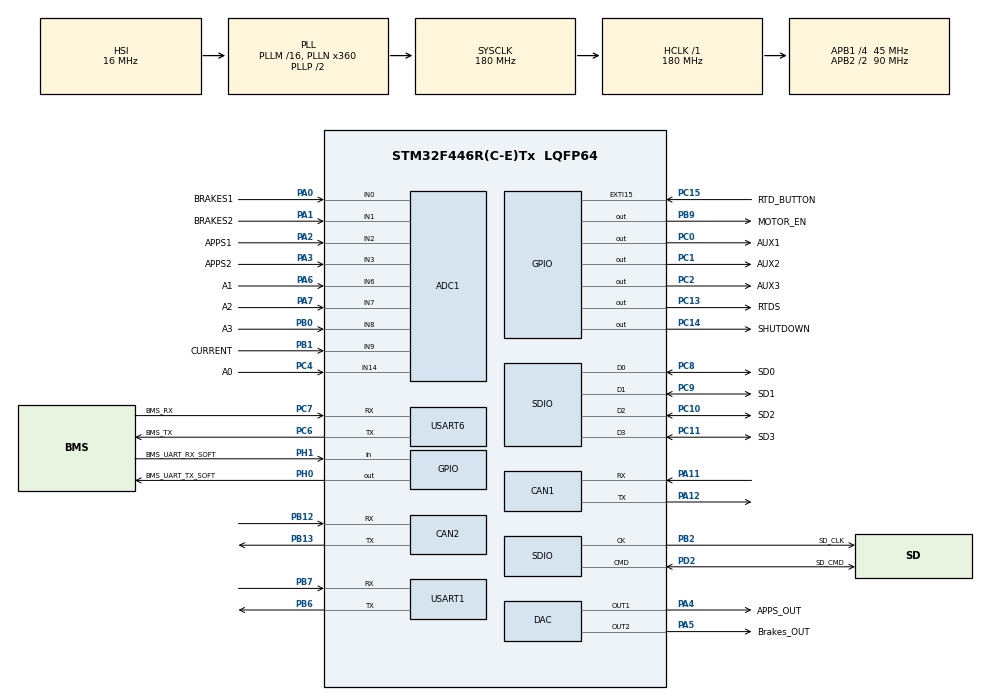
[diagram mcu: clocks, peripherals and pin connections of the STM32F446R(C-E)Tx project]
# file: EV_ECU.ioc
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ADC1.Channel-0\#ChannelRegularConversion=ADC_CHANNEL_0
ADC1.Channel-1\#ChannelRegularConversion=ADC_CHANNEL_1
ADC1.Channel-2\#ChannelRegularConversion=ADC_CHANNEL_2
ADC1.Channel-3\#ChannelRegularConversion=ADC_CHANNEL_3
ADC1.Channel-4\#ChannelRegularConversion=ADC_CHANNEL_9
ADC1.Channel-5\#ChannelRegularConversion=ADC_CHANNEL_6
ADC1.Channel-6\#ChannelRegularConversion=ADC_CHANNEL_7
ADC1.Channel-7\#ChannelRegularConversion=ADC_CHANNEL_VREFINT
ADC1.DMAContinuousRequests=ENABLE
ADC1.DiscontinuousConvMode=DISABLE
ADC1.EOCSelection=ADC_EOC_SEQ_CONV
ADC1.EnableAnalogWatchDog=false
ADC1.ExternalTrigConv=ADC_EXTERNALTRIGCONV_T2_TRGO
ADC1.InjNumberOfConversion=0
ADC1.NbrOfConversion=8
ADC1.NbrOfConversionFlag=1
ADC1.Rank-0\#ChannelRegularConversion=1
ADC1.Rank-1\#ChannelRegularConversion=2
ADC1.Rank-2\#ChannelRegularConversion=3
ADC1.Rank-3\#ChannelRegularConversion=4
ADC1.Rank-4\#ChannelRegularConversion=5
ADC1.Rank-5\#ChannelRegularConversion=6
ADC1.Rank-6\#ChannelRegularConversion=7
ADC1.Rank-7\#ChannelRegularConversion=8
ADC1.SamplingTime-0\#ChannelRegularConversion=ADC_SAMPLETIME_144CYCLES
ADC1.SamplingTime-1\#ChannelRegularConversion=ADC_SAMPLETIME_144CYCLES
ADC1.SamplingTime-2\#ChannelRegularConversion=ADC_SAMPLETIME_144CYCLES
ADC1.SamplingTime-3\#ChannelRegularConversion=ADC_SAMPLETIME_144CYCLES
ADC1.SamplingTime-4\#ChannelRegularConversion=ADC_SAMPLETIME_144CYCLES
ADC1.SamplingTime-5\#ChannelRegularConversion=ADC_SAMPLETIME_3CYCLES
ADC1.SamplingTime-6\#ChannelRegularConversion=ADC_SAMPLETIME_3CYCLES
ADC1.SamplingTime-7\#ChannelRegularConversion=ADC_SAMPLETIME_3CYCLES
ADC1.master=1
CAN1.CalculateTimeQuantum=355.55555555555554
CAN2.CalculateTimeQuantum=355.55555555555554
DAC.DAC_OutputBuffer=DAC_OUTPUTBUFFER_ENABLE
DAC.DAC_OutputBuffer2=DAC_OUTPUTBUFFER_DISABLE
DAC.DAC_Trigger=DAC_TRIGGER_T4_TRGO
DAC.DAC_Trigger2=DAC_TRIGGER_T4_TRGO
DAC.WaveGeneration=DISABLE
DAC.WaveGeneration2=DISABLE
Dma.ADC1.0.Direction=DMA_PERIPH_TO_MEMORY
Dma.ADC1.0.FIFOMode=DMA_FIFOMODE_DISABLE
Dma.ADC1.0.Instance=DMA2_Stream0
Dma.ADC1.0.MemDataAlignment=DMA_MDATAALIGN_HALFWORD
Dma.ADC1.0.MemInc=DMA_MINC_ENABLE
Dma.ADC1.0.Mode=DMA_CIRCULAR
Dma.ADC1.0.PeriphDataAlignment=DMA_PDATAALIGN_HALFWORD
Dma.ADC1.0.PeriphInc=DMA_PINC_DISABLE
Dma.ADC1.0.Priority=DMA_PRIORITY_VERY_HIGH
Dma.DAC1.1.Direction=DMA_MEMORY_TO_PERIPH
Dma.DAC1.1.FIFOMode=DMA_FIFOMODE_DISABLE
Dma.DAC1.1.Instance=DMA1_Stream5
Dma.DAC1.1.MemDataAlignment=DMA_MDATAALIGN_HALFWORD
Dma.DAC1.1.MemInc=DMA_MINC_ENABLE
Dma.DAC1.1.Mode=DMA_CIRCULAR
Dma.DAC1.1.PeriphDataAlignment=DMA_PDATAALIGN_HALFWORD
Dma.DAC1.1.PeriphInc=DMA_PINC_DISABLE
Dma.DAC1.1.Priority=DMA_PRIORITY_HIGH
Dma.DAC2.4.Direction=DMA_MEMORY_TO_PERIPH
Dma.DAC2.4.FIFOMode=DMA_FIFOMODE_DISABLE
Dma.DAC2.4.Instance=DMA1_Stream6
Dma.DAC2.4.MemDataAlignment=DMA_MDATAALIGN_HALFWORD
Dma.DAC2.4.MemInc=DMA_MINC_ENABLE
Dma.DAC2.4.Mode=DMA_CIRCULAR
Dma.DAC2.4.PeriphDataAlignment=DMA_PDATAALIGN_HALFWORD
Dma.DAC2.4.PeriphInc=DMA_PINC_DISABLE
Dma.DAC2.4.Priority=DMA_PRIORITY_HIGH
Dma.Request0=ADC1
Dma.Request1=DAC1
Dma.Request2=SDIO_TX
Dma.Request3=USART1_TX
Dma.Request4=DAC2
Dma.Request5=USART6_TX
Dma.Request6=USART6_RX
Dma.SDIO_TX.2.Direction=DMA_MEMORY_TO_PERIPH
Dma.SDIO_TX.2.FIFOMode=DMA_FIFOMODE_ENABLE
Dma.SDIO_TX.2.FIFOThreshold=DMA_FIFO_THRESHOLD_FULL
Dma.SDIO_TX.2.Instance=DMA2_Stream3
Dma.SDIO_TX.2.MemBurst=DMA_MBURST_INC4
Dma.SDIO_TX.2.MemDataAlignment=DMA_MDATAALIGN_WORD
Dma.SDIO_TX.2.MemInc=DMA_MINC_ENABLE
Dma.SDIO_TX.2.Mode=DMA_PFCTRL
Dma.SDIO_TX.2.PeriphBurst=DMA_PBURST_INC4
Dma.SDIO_TX.2.PeriphDataAlignment=DMA_PDATAALIGN_WORD
Dma.SDIO_TX.2.PeriphInc=DMA_PINC_DISABLE
Dma.SDIO_TX.2.Priority=DMA_PRIORITY_MEDIUM
Dma.USART1_TX.3.Direction=DMA_MEMORY_TO_PERIPH
Dma.USART1_TX.3.FIFOMode=DMA_FIFOMODE_DISABLE
Dma.USART1_TX.3.Instance=DMA2_Stream7
Dma.USART1_TX.3.MemDataAlignment=DMA_MDATAALIGN_BYTE
Dma.USART1_TX.3.MemInc=DMA_MINC_ENABLE
Dma.USART1_TX.3.Mode=DMA_NORMAL
Dma.USART1_TX.3.PeriphDataAlignment=DMA_PDATAALIGN_BYTE
Dma.USART1_TX.3.PeriphInc=DMA_PINC_DISABLE
Dma.USART1_TX.3.Priority=DMA_PRIORITY_LOW
Dma.USART6_RX.6.Direction=DMA_PERIPH_TO_MEMORY
Dma.USART6_RX.6.FIFOMode=DMA_FIFOMODE_DISABLE
Dma.USART6_RX.6.Instance=DMA2_Stream1
Dma.USART6_RX.6.MemDataAlignment=DMA_MDATAALIGN_BYTE
Dma.USART6_RX.6.MemInc=DMA_MINC_ENABLE
Dma.USART6_RX.6.Mode=DMA_NORMAL
Dma.USART6_RX.6.PeriphDataAlignment=DMA_PDATAALIGN_BYTE
Dma.USART6_RX.6.PeriphInc=DMA_PINC_DISABLE
Dma.USART6_RX.6.Priority=DMA_PRIORITY_LOW
Dma.USART6_TX.5.Direction=DMA_MEMORY_TO_PERIPH
Dma.USART6_TX.5.FIFOMode=DMA_FIFOMODE_DISABLE
Dma.USART6_TX.5.Instance=DMA2_Stream6
Dma.USART6_TX.5.MemDataAlignment=DMA_MDATAALIGN_BYTE
Dma.USART6_TX.5.MemInc=DMA_MINC_ENABLE
Dma.USART6_TX.5.Mode=DMA_NORMAL
Dma.USART6_TX.5.PeriphDataAlignment=DMA_PDATAALIGN_BYTE
Dma.USART6_TX.5.PeriphInc=DMA_PINC_DISABLE
Dma.USART6_TX.5.Priority=DMA_PRIORITY_LOW
Mcu.Family=STM32F4
Mcu.Name=STM32F446R(C-E)Tx
Mcu.Package=LQFP64
NVIC.ADC_IRQn=true\:0\:0\:false\:false\:true\:true
NVIC.DMA1_Stream5_IRQn=true\:0\:0\:false\:false\:true\:false
NVIC.DMA1_Stream6_IRQn=true\:0\:0\:false\:false\:true\:false
NVIC.DMA2_Stream0_IRQn=true\:0\:0\:false\:false\:true\:false
NVIC.DMA2_Stream1_IRQn=true\:0\:0\:false\:false\:true\:false
NVIC.DMA2_Stream3_IRQn=true\:0\:0\:false\:false\:true\:false
NVIC.DMA2_Stream6_IRQn=true\:0\:0\:false\:false\:true\:false
NVIC.DMA2_Stream7_IRQn=true\:0\:0\:false\:false\:true\:false
NVIC.PriorityGroup=NVIC_PRIORITYGROUP_4
NVIC.SDIO_IRQn=true\:0\:0\:false\:false\:true\:true
NVIC.TIM1_CC_IRQn=true\:0\:0\:false\:false\:true\:true
NVIC.TIM1_UP_TIM10_IRQn=true\:0\:0\:false\:false\:true\:true
NVIC.TIM4_IRQn=true\:0\:0\:false\:false\:true\:true
NVIC.TIM6_DAC_IRQn=true\:0\:0\:false\:false\:true\:true
NVIC.USART1_IRQn=true\:0\:0\:false\:false\:true\:true
PA0-WKUP.GPIO_Label=BRAKES1
PA0-WKUP.Signal=ADCx_IN0
PA1.GPIO_Label=BRAKES2
PA1.Signal=ADCx_IN1
PA11.Mode=Master
PA11.Signal=CAN1_RX
PA12.Mode=Master
PA12.Signal=CAN1_TX
PA13.Mode=Serial_Wire
PA13.Signal=SYS_JTMS-SWDIO
PA14.Mode=Serial_Wire
PA14.Signal=SYS_JTCK-SWCLK
PA2.GPIO_Label=APPS1
PA2.Signal=ADCx_IN2
PA3.GPIO_Label=APPS2
PA3.Signal=ADCx_IN3
PA4.GPIO_Label=APPS_OUT
PA4.Signal=COMP_DAC1_group
PA5.GPIO_Label=Brakes_OUT
PA5.Signal=COMP_DAC2_group
PA6.GPIO_Label=A1
PA6.Signal=ADCx_IN6
PA7.GPIO_Label=A2
PA7.Signal=ADCx_IN7
PB0.GPIO_Label=A3
PB0.Signal=ADCx_IN8
PB1.GPIO_Label=CURRENT
PB1.Signal=ADCx_IN9
PB12.Mode=Slave
PB12.Signal=CAN2_RX
PB13.Mode=Slave
PB13.Signal=CAN2_TX
PB2.GPIO_Label=SD_CLK
PB2.GPIO_PuPd=GPIO_PULLUP
PB2.Mode=SD_4_bits_Wide_bus
PB2.Signal=SDIO_CK
PB6.Mode=Asynchronous
PB6.Signal=USART1_TX
PB7.Mode=Asynchronous
PB7.Signal=USART1_RX
PB9.GPIO_Label=MOTOR_EN
PB9.Signal=GPIO_Output
PC0.GPIO_Label=AUX1
PC0.Signal=GPIO_Output
PC1.GPIO_Label=AUX2
PC1.Signal=GPIO_Output
PC10.GPIO_Label=SD2
PC10.GPIO_PuPd=GPIO_PULLUP
PC10.Mode=SD_4_bits_Wide_bus
PC10.Signal=SDIO_D2
PC11.GPIO_Label=SD3
PC11.GPIO_PuPd=GPIO_PULLUP
PC11.Mode=SD_4_bits_Wide_bus
PC11.Signal=SDIO_D3
PC13.GPIO_Label=RTDS
PC13.Signal=GPIO_Output
PC14-OSC32_IN.GPIO_Label=SHUTDOWN
PC14-OSC32_IN.Signal=GPIO_Output
PC15-OSC32_OUT.GPIO_Label=RTD_BUTTON
PC15-OSC32_OUT.GPIO_PuPd=GPIO_PULLUP
PC15-OSC32_OUT.Signal=GPXTI15
PC2.GPIO_Label=AUX3
PC2.Signal=GPIO_Output
PC4.GPIO_Label=A0
PC4.Signal=ADCx_IN14
PC6.GPIO_Label=BMS_TX
PC6.Mode=Asynchronous
PC6.Signal=USART6_TX
PC7.GPIO_Label=BMS_RX
PC7.Mode=Asynchronous
PC7.Signal=USART6_RX
PC8.GPIO_Label=SD0
PC8.GPIO_PuPd=GPIO_PULLUP
PC8.Mode=SD_4_bits_Wide_bus
PC8.Signal=SDIO_D0
PC9.GPIO_Label=SD1
PC9.GPIO_PuPd=GPIO_PULLUP
PC9.Mode=SD_4_bits_Wide_bus
PC9.Signal=SDIO_D1
PD2.GPIO_Label=SD_CMD
PD2.GPIO_PuPd=GPIO_PULLUP
PD2.Mode=SD_4_bits_Wide_bus
PD2.Signal=SDIO_CMD
PH0-OSC_IN.GPIO_Label=BMS_UART_TX_SOFT
PH0-OSC_IN.Signal=GPIO_Output
PH1-OSC_OUT.GPIO_Label=BMS_UART_RX_SOFT
PH1-OSC_OUT.Signal=GPIO_Input
ProjectManager.HeapSize=0x200
ProjectManager.StackSize=0x400
ProjectManager.TargetToolchain=TrueSTUDIO
RCC.AHBFreq_Value=180000000
RCC.APB1CLKDivider=RCC_HCLK_DIV4
RCC.APB1Freq_Value=45000000
RCC.APB1TimFreq_Value=180000000
RCC.APB2CLKDivider=RCC_HCLK_DIV2
RCC.APB2Freq_Value=90000000
RCC.APB2TimFreq_Value=180000000
RCC.CortexFreq_Value=180000000
RCC.DATA_CACHE_ENABLE=1
RCC.HCLKFreq_Value=180000000
RCC.INSTRUCTION_CACHE_ENABLE=1
RCC.PLLN=360
RCC.PLLQ=8
RCC.PLLSAIM=8
RCC.PLLSAIN=96
RCC.PLLSAIP=RCC_PLLSAIP_DIV4
RCC.PREFETCH_ENABLE=1
RCC.RCC_TIM_PRescaler_Selection=RCC_TIMPRES_ACTIVATED
RCC.SYSCLKFreq_VALUE=180000000
RCC.SYSCLKSource=RCC_SYSCLKSOURCE_PLLCLK
RCC.USBCLockSelection=RCC_CLK48CLKSOURCE_PLLSAIP
RCC.USBFreq_Value=48000000
RCC.VCOOutputFreq_Value=360000000
SDIO.HardwareFlowControl=SDIO_HARDWARE_FLOW_CONTROL_ENABLE
SH.ADCx_IN0.0=ADC1_IN0,IN0
SH.ADCx_IN1.0=ADC1_IN1,IN1
SH.ADCx_IN14.0=ADC1_IN14,IN14
SH.ADCx_IN2.0=ADC1_IN2,IN2
SH.ADCx_IN3.0=ADC1_IN3,IN3
SH.ADCx_IN6.0=ADC1_IN6,IN6
SH.ADCx_IN7.0=ADC1_IN7,IN7
SH.ADCx_IN8.0=ADC1_IN8,IN8
SH.ADCx_IN9.0=ADC1_IN9,IN9
SH.COMP_DAC1_group.0=DAC_OUT1,DAC_OUT1
SH.COMP_DAC2_group.0=DAC_OUT2,DAC_OUT2
TIM1.ClockDivision=TIM_CLOCKDIVISION_DIV4
TIM1.Period=45000
TIM1.Prescaler=1000
TIM2.Period=999
TIM2.Prescaler=179
TIM2.TIM_MasterOutputTrigger=TIM_TRGO_UPDATE
TIM4.Period=999
TIM4.Prescaler=179
TIM4.TIM_MasterOutputTrigger=TIM_TRGO_UPDATE
USART1.VirtualMode=VM_ASYNC
USART6.VirtualMode=VM_ASYNC
VP_ADC1_Vref_Input.Mode=IN-Vrefint
VP_TIM1_VS_ClockSourceINT.Mode=Internal
VP_TIM2_VS_ClockSourceINT.Mode=Internal
VP_TIM4_VS_ClockSourceINT.Mode=Internal
board=custom

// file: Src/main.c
/* USER CODE BEGIN Header */
/**
 ******************************************************************************
 * @file           : main.c
 * @brief          : Main program body
 ******************************************************************************
 ** This notice applies to any and all portions of this file
 * that are not between comment pairs USER CODE BEGIN and
 * USER CODE END. Other portions of this file, whether
 * inserted by the user or by software development tools
 * are owned by their respective copyright owners.
 *
 * COPYRIGHT(c) 2019 STMicroelectronics
 *
 * Redistribution and use in source and binary forms, with or without modification,
 * are permitted provided that the following conditions are met:
 *   1. Redistributions of source code must retain the above copyright notice,
 *      this list of conditions and the following disclaimer.
 *   2. Redistributions in binary form must reproduce the above copyright notice,
 *      this list of conditions and the following disclaimer in the documentation
 *      and/or other materials provided with the distribution.
 *   3. Neither the name of STMicroelectronics nor the names of its contributors
 *      may be used to endorse or promote products derived from this software
 *      without specific prior written permission.
 *
 * THIS SOFTWARE IS PROVIDED BY THE COPYRIGHT HOLDERS AND CONTRIBUTORS "AS IS"
 * AND ANY EXPRESS OR IMPLIED WARRANTIES, INCLUDING, BUT NOT LIMITED TO, THE
 * IMPLIED WARRANTIES OF MERCHANTABILITY AND FITNESS FOR A PARTICULAR PURPOSE ARE
 * DISCLAIMED. IN NO EVENT SHALL THE COPYRIGHT HOLDER OR CONTRIBUTORS BE LIABLE
 * FOR ANY DIRECT, INDIRECT, INCIDENTAL, SPECIAL, EXEMPLARY, OR CONSEQUENTIAL
 * DAMAGES (INCLUDING, BUT NOT LIMITED TO, PROCUREMENT OF SUBSTITUTE GOODS OR
 * SERVICES; LOSS OF USE, DATA, OR PROFITS; OR BUSINESS INTERRUPTION) HOWEVER
 * CAUSED AND ON ANY THEORY OF LIABILITY, WHETHER IN CONTRACT, STRICT LIABILITY,
 * OR TORT (INCLUDING NEGLIGENCE OR OTHERWISE) ARISING IN ANY WAY OUT OF THE USE
 * OF THIS SOFTWARE, EVEN IF ADVISED OF THE POSSIBILITY OF SUCH DAMAGE.
 *
 ******************************************************************************
 */
/* USER CODE END Header */

#include "main.h"
#include "adc.h"
#include "can.h"
#include "dac.h"
#include "dma.h"
#include "sdio.h"
#include "tim.h"
#include "usart.h"
#include "gpio.h"

/* USER CODE BEGIN Includes */
#include "stdio.h"
#include "stdbool.h"
#include "logging.h"
#include "error_handling.h"
#include "motor_signals.h"
#include "charger.h"
/* USER CODE END Includes */

/* USER CODE BEGIN PV */

extern uint16_t adc_raw_data[9];
extern bool adc_new_data;
extern uint16_t throttle;
extern uint16_t regen_brakes;

CAN_RxHeaderTypeDef can1_fifo0_rx_msg_header, can1_fifo1_rx_msg_header;
CAN_RxHeaderTypeDef can2_fifo0_rx_msg_header, can2_fifo1_rx_msg_header;
uint8_t can1_fifo0_rx_msg_data[8], can1_fifo1_rx_msg_data[8];
uint8_t can2_fifo0_rx_msg_data[8], can2_fifo1_rx_msg_data[8];
/* USER CODE END PV */

void SystemClock_Config(void);

/* USER CODE BEGIN 0 */
int _write(int file, char *ptr, int len) {
	while (huart1.gState != HAL_UART_STATE_READY)
		;
	HAL_UART_Transmit_DMA(&huart1, (uint8_t*) ptr, len);
	return len;
}

/* USER CODE END 0 */

int main(void)
{

  /* MCU Configuration--------------------------------------------------------*/

  /* Reset of all peripherals, Initializes the Flash interface and the Systick. */
  HAL_Init();

  /* Configure the system clock */
  SystemClock_Config();

  /* Initialize all configured peripherals */
  MX_GPIO_Init();
  MX_DMA_Init();
  MX_ADC1_Init();
  MX_TIM1_Init();
  MX_DAC_Init();
  MX_SDIO_SD_Init();
  MX_TIM2_Init();
  MX_USART1_UART_Init();
  MX_TIM4_Init();
  MX_USART6_UART_Init();
  MX_CAN2_Init();
  MX_CAN1_Init();
  /* USER CODE BEGIN 2 */
	log_u("Started ECU");
	if (HAL_ADC_Start_DMA(&hadc1, (uint32_t*) adc_raw_data, 9) != HAL_OK) {
		log_u("adc failed");
		safe_reset_ecu();
	}
	if (HAL_DAC_Start_DMA(&hdac, DAC_CHANNEL_1, &throttle, 1, DAC_ALIGN_12B_R)
			!= HAL_OK) {
		log_u("dac1 failed");
		safe_reset_ecu();
	}
	if (HAL_DAC_Start_DMA(&hdac, DAC_CHANNEL_2, &regen_brakes, 1,
			DAC_ALIGN_12B_R) != HAL_OK) {
		log_u("dac2 failed");
		safe_reset_ecu();
	}
	if (HAL_TIM_Base_Start_IT(&htim1) != HAL_OK) {
		log_u("tim1 failed");
		safe_reset_ecu();
	}
	if (HAL_TIM_IC_Start(&htim1, TIM_CHANNEL_1) != HAL_OK) {
		log_u("tim1 channel 1 failed");
		safe_reset_ecu();
	}
	if (HAL_TIM_Base_Start_IT(&htim2) != HAL_OK) {
		log_u("tim2 failed");
		safe_reset_ecu();
	}
	if (HAL_TIM_Base_Start_IT(&htim4) != HAL_OK) {
		log_u("tim4 failed");
		safe_reset_ecu();
	}
	charger_config_can_filter();
	if (HAL_CAN_Start(&hcan2) != HAL_OK) {
		Error_Handler();
	}
	if (HAL_CAN_ActivateNotification(&hcan2,
			CAN_IT_RX_FIFO0_MSG_PENDING | CAN_IT_RX_FIFO1_MSG_PENDING)
			!= HAL_OK) {
		Error_Handler();
	}
  /* USER CODE END 2 */

  /* Infinite loop */
  /* USER CODE BEGIN WHILE */
	while (1) {
		if (adc_new_data) {
			adc_new_data = false;
			motor_loop();
		}
		charger_loop();
    /* USER CODE END WHILE */

	}
}

void SystemClock_Config(void)
{
  RCC_OscInitTypeDef RCC_OscInitStruct = {0};
  RCC_ClkInitTypeDef RCC_ClkInitStruct = {0};
  RCC_PeriphCLKInitTypeDef PeriphClkInitStruct = {0};

  /**Configure the main internal regulator output voltage
  */
  __HAL_RCC_PWR_CLK_ENABLE();
  __HAL_PWR_VOLTAGESCALING_CONFIG(PWR_REGULATOR_VOLTAGE_SCALE1);
  /**Initializes the CPU, AHB and APB busses clocks
  */
  RCC_OscInitStruct.OscillatorType = RCC_OSCILLATORTYPE_HSI;
  RCC_OscInitStruct.HSIState = RCC_HSI_ON;
  RCC_OscInitStruct.HSICalibrationValue = RCC_HSICALIBRATION_DEFAULT;
  RCC_OscInitStruct.PLL.PLLState = RCC_PLL_ON;
  RCC_OscInitStruct.PLL.PLLSource = RCC_PLLSOURCE_HSI;
  RCC_OscInitStruct.PLL.PLLM = 16;
  RCC_OscInitStruct.PLL.PLLN = 360;
  RCC_OscInitStruct.PLL.PLLP = RCC_PLLP_DIV2;
  RCC_OscInitStruct.PLL.PLLQ = 8;
  RCC_OscInitStruct.PLL.PLLR = 2;
  if (HAL_RCC_OscConfig(&RCC_OscInitStruct) != HAL_OK)
  {
    Error_Handler();
  }
  /**Activate the Over-Drive mode
  */
  if (HAL_PWREx_EnableOverDrive() != HAL_OK)
  {
    Error_Handler();
  }
  /**Initializes the CPU, AHB and APB busses clocks
  */
  RCC_ClkInitStruct.ClockType = RCC_CLOCKTYPE_HCLK|RCC_CLOCKTYPE_SYSCLK
                              |RCC_CLOCKTYPE_PCLK1|RCC_CLOCKTYPE_PCLK2;
  RCC_ClkInitStruct.SYSCLKSource = RCC_SYSCLKSOURCE_PLLCLK;
  RCC_ClkInitStruct.AHBCLKDivider = RCC_SYSCLK_DIV1;
  RCC_ClkInitStruct.APB1CLKDivider = RCC_HCLK_DIV4;
  RCC_ClkInitStruct.APB2CLKDivider = RCC_HCLK_DIV2;

  if (HAL_RCC_ClockConfig(&RCC_ClkInitStruct, FLASH_LATENCY_5) != HAL_OK)
  {
    Error_Handler();
  }
  PeriphClkInitStruct.PeriphClockSelection = RCC_PERIPHCLK_TIM|RCC_PERIPHCLK_SDIO
                              |RCC_PERIPHCLK_CLK48;
  PeriphClkInitStruct.PLLSAI.PLLSAIM = 8;
  PeriphClkInitStruct.PLLSAI.PLLSAIN = 96;
  PeriphClkInitStruct.PLLSAI.PLLSAIQ = 2;
  PeriphClkInitStruct.PLLSAI.PLLSAIP = RCC_PLLSAIP_DIV4;
  PeriphClkInitStruct.PLLSAIDivQ = 1;
  PeriphClkInitStruct.TIMPresSelection = RCC_TIMPRES_ACTIVATED;
  PeriphClkInitStruct.Clk48ClockSelection = RCC_CLK48CLKSOURCE_PLLSAIP;
  PeriphClkInitStruct.SdioClockSelection = RCC_SDIOCLKSOURCE_CLK48;
  if (HAL_RCCEx_PeriphCLKConfig(&PeriphClkInitStruct) != HAL_OK)
  {
    Error_Handler();
  }
}

/* USER CODE BEGIN 4 */
void HAL_CAN_RxFifo0MsgPendingCallback(CAN_HandleTypeDef *hcan){
	if(hcan == &hcan1){
		HAL_CAN_GetRxMessage(hcan, CAN_RX_FIFO0, can1_fifo0_rx_msg_header, can1_fifo0_rx_msg_data);
	}else if(hcan == &hcan2){
		HAL_CAN_GetRxMessage(hcan, CAN_RX_FIFO0, can2_fifo0_rx_msg_header, can2_fifo0_rx_msg_data);
		if(can1_fifo0_rx_msg_header.FilterMatchIndex == 27 && can1_fifo0_rx_msg_header.ExtId == 0x18FF50E5){
			charger_status_msg_handle(can2_fifo0_rx_msg_data);
		}
	}
}
void HAL_CAN_RxFifo1MsgPendingCallback(CAN_HandleTypeDef *hcan){
	if(hcan == &hcan1){
		HAL_CAN_GetRxMessage(hcan, CAN_RX_FIFO1, can1_fifo1_rx_msg_header, can1_fifo1_rx_msg_data);
	}else if(hcan == &hcan2){
		HAL_CAN_GetRxMessage(hcan, CAN_RX_FIFO1, can2_fifo1_rx_msg_header, can2_fifo1_rx_msg_data);
	}
}
/* USER CODE END 4 */

void Error_Handler(void)
{
  /* USER CODE BEGIN Error_Handler_Debug */
	/* User can add his own implementation to report the HAL error return state */
	safe_reset_ecu();
  /* USER CODE END Error_Handler_Debug */
}

/************************ (C) COPYRIGHT STMicroelectronics *****END OF FILE****/
